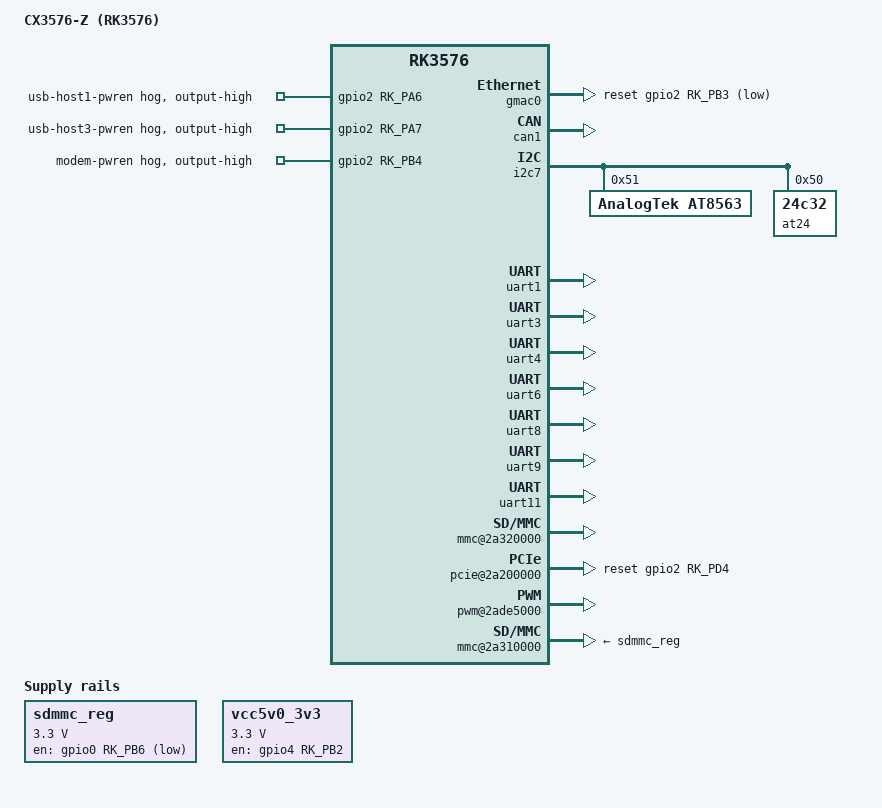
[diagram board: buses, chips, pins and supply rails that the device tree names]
// SPDX-License-Identifier: (GPL-2.0+ OR MIT)

/* CX3576-Z board device tree. */
/dts-v1/;

#include "rk3576.dtsi"
#include "rk3576-evb1.dtsi"
#include "rk3576-linux.dtsi"

/ {
	model = "CX3576-Z (RK3576)";
	compatible = "jawest,cx3576z", "rockchip,rk3576-evb1-v10",
		     "rockchip,rk3576";
};

&ufs {
	status = "disabled";
};

/*
 * RAMOOPS -- MOVED INTO THE DRAM THE KERNEL IS ACTUALLY GIVEN.
 *
 * rk3576-linux.dtsi declares `ramoops@40110000`, 0xe0000 at 0x40110000, and
 * that address is NOT in the bank U-Boot hands over: the memory node this
 * board boots with is [0x40200000, top), because TF-A/BL31 keeps the first
 * 2 MiB of DRAM. The whole vendor region -- 0x40110000..0x401effff -- lies
 * inside that carve-out, and it is not a latent misdeclaration: pstore
 * registers the backend, `printk: console [ramoops-1] enabled`, and every
 * console line since has been written into firmware memory. The board runs,
 * so BL31 is evidently not being fatally clobbered, but that is luck rather
 * than a design -- this board's own u-boot.itb loads an ARM Trusted Firmware
 * segment at 0x400f0000, 0x20000 below the vendor ramoops base.
 *
 * WHERE IT GOES, and why this address and not another. The region has to be
 * (a) inside the bank the kernel was given, so the kernel's own reservation
 * mechanism can hold it, and (b) outside everything the boot chain writes,
 * because a warm reset re-runs the boot chain before the kernel reads the
 * previous boot's bytes -- a region the loader scribbles on is a pstore that
 * is empty exactly when it matters. The boot chain's own addresses, read out
 * of the built u-boot.itb and out of boot.cmd:
 *
 *   0x40060000 / 0x400f0000  BL31 segments        (inside the 2 MiB carve-out)
 *   0x40800000               U-Boot proper        (TEXT_BASE; relocates UP)
 *   0x40c00000 / 0x40c00800  scriptaddr / loadaddr
 *   0x40e00000               pxefile_addr_r
 *   0x40f00000               verityaddr           (boot.cmd)
 *   0x42000000               kernel_addr_r
 *   0x52000000 / 0x52180000  fdt_addr_r / ramdisk_addr_r
 *
 * so [0x40200000, 0x40800000) is above the firmware carve-out and below every
 * address the loader writes. 0x40400000 sits in it with 2 MiB of clearance
 * from the carve-out and 4 MiB from U-Boot's TEXT_BASE, and -- being 4 MiB
 * from the base of DRAM -- it is inside the bank on every memory SKU, which a
 * high address chosen against this 8 GiB unit would not be. It is NOT a
 * measured-free address: nothing off-board can prove the loader leaves it
 * alone, so docs/boards/cx3576-bench.md carries the row that does.
 *
 * `no-map` AND NOT `reusable`, and the two are not interchangeable here.
 * `reusable` hands a region to the allocator on the understanding that a
 * driver can claim it back; pstore has no such handshake and needs the bytes
 * to survive a reset UNREAD, so a reusable ramoops is a ramoops the kernel is
 * entitled to overwrite. Plain reservation -- neither property -- would keep
 * the region out of the allocator but leave it in the arm64 linear map as
 * Normal cacheable, while fs/pstore/ram_core.c maps it write-combine
 * (`persistent_ram_vmap`, MEM_TYPE_WCOMBINE is mem_type 0): two live mappings
 * of one physical range with mismatched memory types. `no-map` is what removes
 * the linear-map alias, so the write-combine mapping pstore makes is the only
 * one. It does not change WHICH of ram_core.c's two mapping paths is taken --
 * arm64's pfn_valid() answers from memblock_is_memory(), and
 * memblock_mark_nomap() leaves the range in memblock.memory, so the vmap path
 * is taken either way -- what changes is that there is no second, cached view
 * of the same bytes.
 *
 * MOVING IT DISCARDS WHAT IS STORED TODAY. The records a device holds at
 * 0x40110000 are not migrated and are not readable after this change; the
 * first boot on the new address starts with an empty pstore. That is
 * accepted: nothing has ever consumed those records, and leaving a console
 * writing into BL31's memory in order to keep them is the wrong trade.
 *
 * The geometry is the vendor's, unchanged: the same total size and the same
 * four zones (dmesg-0/1 0x18000 each, console 0x80000, pmsg 0x30000). Only
 * the base and the mapping change, so a boot log from before and after this
 * commit differs in exactly one number.
 */
&{/reserved-memory} {
	/delete-node/ ramoops@40110000;

	ramoops@40400000 {
		compatible = "ramoops";
		reg = <0x0 0x40400000 0x0 0xe0000>;
		no-map;
		boot-log-size = <0x8000>;	/* vendor: do not change */
		boot-log-count = <0x1>;		/* vendor: do not change */
		console-size = <0x80000>;
		pmsg-size = <0x30000>;
		ftrace-size = <0x0>;
		record-size = <0x14000>;
	};
};

&gmac0 {
	snps,reset-gpio = <&gpio2 RK_PB3 GPIO_ACTIVE_LOW>;
};

&gmac1 {
	status = "disabled";
};

&can0 {
	status = "disabled";
};

/* CAN1 is the only routed controller and appears as Linux can0. */
&can1 {
	status = "okay";
	assigned-clocks = <&cru CLK_CAN1>;
	assigned-clock-rates = <200000000>;
	pinctrl-names = "default";
	pinctrl-0 = <&can1m3_pins>;
	dmas = <&{/dma-controller@2abb0000} 21>;
	dma-names = "rx";
};

&i2c7 {
	status = "okay";

	at8563: rtc@51 {
		compatible = "AnalogTek,AT8563", "haoyu,hym8563";
		reg = <0x51>;
		#clock-cells = <0>;
		clock-output-names = "AT8563";
	};


	at24@50 {
		compatible = "24c32";
		reg = <0x50>;
	};
};

&{/phy@2b010000} {
	rockchip,dp-lane-mux = <2 3>;
	/delete-property/ orientation-switch;
	/delete-property/ sbu1-dc-gpios;
	/delete-property/ sbu2-dc-gpios;
	/delete-property/ svid;
	/delete-node/ port;
};

&{/usb@23000000} {
	extcon = <&u2phy0>;
	/delete-property/ usb-role-switch;
	/delete-node/ port;
};

&u2phy0_otg {
	vbus-supply = <&vbus5v0_typec>;
	/delete-property/ rockchip,typec-vbus-det;

	rockchip,dis-u2-susphy;
};

&vbus5v0_typec {
	gpio = <&gpio2 RK_PB6 GPIO_ACTIVE_HIGH>;
};

&{/pinctrl/usb/usb-otg0-pwren} {
	rockchip,pins = <2 RK_PB6 0 &pcfg_pull_none>;
};

&{/pinctrl/headphone/hp-det} {
	rockchip,pins = <2 RK_PB7 0 &pcfg_pull_up>;
};

&{/hdmi@27da0000} {
	/delete-property/ enable-gpios;
};

/* UART1 and UART6 are RS-485 ports; UART4 is Bluetooth HCI. */
&uart1 {
	status = "okay";
	pinctrl-names = "default";
	pinctrl-0 = <&uart1m1_xfer>;
};

&uart3 {
	status = "okay";
	pinctrl-names = "default";
	pinctrl-0 = <&uart3m1_xfer>;
};

&uart4 {
	status = "okay";
	pinctrl-names = "default";
	pinctrl-0 = <&uart4m1_xfer &uart4m1_ctsn>;
};

&{/wireless-bluetooth} {
	status = "okay";
};

&uart6 {
	status = "okay";
	pinctrl-names = "default";
	pinctrl-0 = <&uart6m1_xfer>;
};

&uart8 {
	status = "okay";
	pinctrl-names = "default";
	pinctrl-0 = <&uart8m2_xfer>;
};

&uart9 {
	status = "okay";
	pinctrl-names = "default";
	pinctrl-0 = <&uart9m0_xfer>;
};

&uart11 {
	status = "okay";
	pinctrl-names = "default";
	pinctrl-0 = <&uart11m1_xfer>;
};

/* The FC900K/AIC8800D80 Wi-Fi function uses SDIO. */
&{/mmc@2a320000} {
	status = "okay";
};

&{/sdio-pwrseq} {
	status = "okay";
	clocks = <&at8563>;
	clock-names = "ext_clock";
};

&{/pcie@2a200000} {
	status = "okay";
	reset-gpios = <&gpio2 RK_PD4 GPIO_ACTIVE_HIGH>;

	/delete-property/ pinctrl-names;
	/delete-property/ pinctrl-0;
};

&{/i2c@2ac50000} {
	/delete-node/ husb311@4e;
};

&{/i2c@2ac50000/hym8563@51} {
	status = "disabled";
};

&{/pwm@2ade5000} { status = "okay"; };
&{/watchdog@2ace0000} { status = "okay"; };

&{/sai@2a640000} { status = "disabled"; };

&{/sata@2a240000} { status = "disabled"; };

&{/dsi@27d80000} { status = "disabled"; };

&{/vop@27d00000} {
	support-multi-area;
};

&{/vop@27d00000/ports/port@0} {
	rockchip,plane-mask = <0x04>;
	rockchip,primary-plane = <0x02>;
};

&{/vop@27d00000/ports/port@1} {
	rockchip,plane-mask = <0x08>;
	rockchip,primary-plane = <0x03>;
};

&{/vop@27d00000/ports/port@2} {
	rockchip,plane-mask = <0x100>;
	rockchip,primary-plane = <0x08>;
};

&{/es8388-sound} {
	hp-det-gpio = <&gpio2 RK_PB7 GPIO_ACTIVE_HIGH>;
	spk-con-gpio = <&gpio3 RK_PD6 GPIO_ACTIVE_HIGH>;
	/delete-property/ hp-con-gpio;
	rockchip,audio-routing =
		"Headphone", "LOUT1",
		"Headphone", "ROUT1",
		"Speaker", "LOUT2",
		"Speaker", "ROUT2",
		"Headphone", "Headphone Power",
		"Headphone", "Headphone Power",
		"Speaker", "Speaker Power",
		"Speaker", "Speaker Power",
		"LINPUT1", "Main Mic",
		"LINPUT2", "Main Mic",
		"RINPUT1", "Headset Mic",
		"RINPUT2", "Headset Mic";
};

&{/i2c@2ac40000/pmic@23} {
	/delete-property/ shutdown-sequence;
	/delete-property/ vb-shutdown-sequence;
};

&{/backlight} { status = "disabled"; };
&{/dp0-sound} { status = "disabled"; };
&{/i2c@27300000} { status = "disabled"; };
&{/i2c@27300000/gt1x@14} { status = "disabled"; };
&{/i2c@2aca0000/icm_acc@68} { status = "disabled"; };
&{/i2c@2aca0000/icm_gyro@68} { status = "disabled"; };

/*
 * The stock board support uses a private jawest,jwsled driver for these two
 * indicators.  Model them with gpio-leds instead: red means Linux is still
 * starting (or shutting down), and userspace switches to blue when the
 * default OpenRC runlevel has been reached.
 */
&{/leds} {
	pinctrl-names = "default";
	pinctrl-0 = <&status_red_pin &status_blue_pin>;

	status_red: status-red {
		label = "status-red";
		/* Stock jwsled drives red on with 0 and off with 1. */
		gpios = <&gpio4 RK_PC7 GPIO_ACTIVE_LOW>;
		default-state = "on";
	};

	status_blue: status-blue {
		label = "status-blue";
		gpios = <&gpio4 RK_PB0 GPIO_ACTIVE_HIGH>;
		default-state = "off";
	};
};

/* EVB1 assigns GPIO4_B0 to an unused camera rail; it is the blue LED here. */
&{/vcc-mipicsi0-regulator} { status = "disabled"; };

&{/adc-keys} { status = "disabled"; };

&{/dp@27e40000} { status = "disabled"; };

/ {
	sdmmc_reg: sdmmc-regulator {
		compatible = "regulator-fixed";
		regulator-name = "vcc_sd";
		regulator-min-microvolt = <3300000>;
		regulator-max-microvolt = <3300000>;
		gpio = <&gpio0 RK_PB6 GPIO_ACTIVE_LOW>;
		enable-active-low;
		pinctrl-names = "default";
		pinctrl-0 = <&sdmmc_pwr>;
	};

	vcc5v0_3v3: vcc5v0-3v3 {
		compatible = "regulator-fixed";
		regulator-name = "vcc5v0_3v3";
		regulator-always-on;
		regulator-boot-on;
		regulator-min-microvolt = <3300000>;
		regulator-max-microvolt = <3300000>;
		gpio = <&gpio4 RK_PB2 GPIO_ACTIVE_HIGH>;
		enable-active-high;
		pinctrl-names = "default";
		pinctrl-0 = <&vcc5v0_3v3_pwren>;
	};
};

&pinctrl {
	status-leds {
		status_red_pin: status-red-pin {
			rockchip,pins = <4 RK_PC7 0 &pcfg_pull_up>;
		};

		status_blue_pin: status-blue-pin {
			rockchip,pins = <4 RK_PB0 0 &pcfg_pull_up>;
		};
	};

	sdmmc-pwr-en {
		sdmmc_pwr: sdmmc-pwr {
			rockchip,pins = <0 RK_PB6 0 &pcfg_pull_none>;
		};
	};

	vcc5v0-3v3-en {
		vcc5v0_3v3_pwren: vcc5v0-3v3-pwren {
			rockchip,pins = <4 RK_PB2 0 &pcfg_pull_none>;
		};
	};
};

&{/mmc@2a310000} {
	vmmc-supply = <&sdmmc_reg>;

	pinctrl-0 = <&sdmmc0_clk &sdmmc0_cmd &sdmmc0_det &sdmmc0_bus4>;
};

&{/sai@2a610000} {
	pinctrl-0 = <&sai1m0_lrck &sai1m0_sclk &sai1m0_sdi0 &sai1m0_sdo2>;
};

&{/wireless-wlan} {
	status = "disabled";
};

/* Keep board power rails enabled without the vendor control driver. */
&gpio2 {
	usb-host1-pwren-hog {
		gpio-hog;
		gpios = <RK_PA6 GPIO_ACTIVE_HIGH>;
		output-high;
		line-name = "usb-host1-pwren";
	};

	usb-host3-pwren-hog {
		gpio-hog;
		gpios = <RK_PA7 GPIO_ACTIVE_HIGH>;
		output-high;
		line-name = "usb-host3-pwren";
	};

	modem-pwren-hog {
		gpio-hog;
		gpios = <RK_PB4 GPIO_ACTIVE_HIGH>;
		output-high;
		line-name = "modem-pwren";
	};
};

/* No CSI sensors or DSI panel are connected on this board. */
&mipidcphy0 { status = "disabled"; };
&csi2_dphy0_hw { status = "disabled"; };
&csi2_dphy1_hw { status = "disabled"; };
&mipi0_csi2_hw { status = "disabled"; };
&mipi1_csi2_hw { status = "disabled"; };
&mipi2_csi2_hw { status = "disabled"; };
&mipi3_csi2_hw { status = "disabled"; };
&mipi4_csi2_hw { status = "disabled"; };
&vcc_mipicsi1 { status = "disabled"; };
&vcc_mipidcphy0 { status = "disabled"; };

/* BL31 provides SCMI over SMC, without an OP-TEE payload. */
&optee { status = "disabled"; };

/* Signed FIT boot uses the Linux logo, without a vendor loader framebuffer. */
&{/reserved-memory} {
	/delete-node/ drm-logo@0;
	/delete-node/ drm-cubic-lut@0;
};
&display_subsystem {
	/delete-property/ memory-region;
	/delete-property/ memory-region-names;
};
&route_hdmi {
	/delete-property/ logo,uboot;
	/delete-property/ logo,kernel;
	/delete-property/ logo,mode;
	/delete-property/ charge_logo,mode;
};

/* Match the Bifrost driver's primary lookup without changing IRQ ordering. */
&gpu {
	interrupt-names = "GPU", "MMU", "JOB";
};
